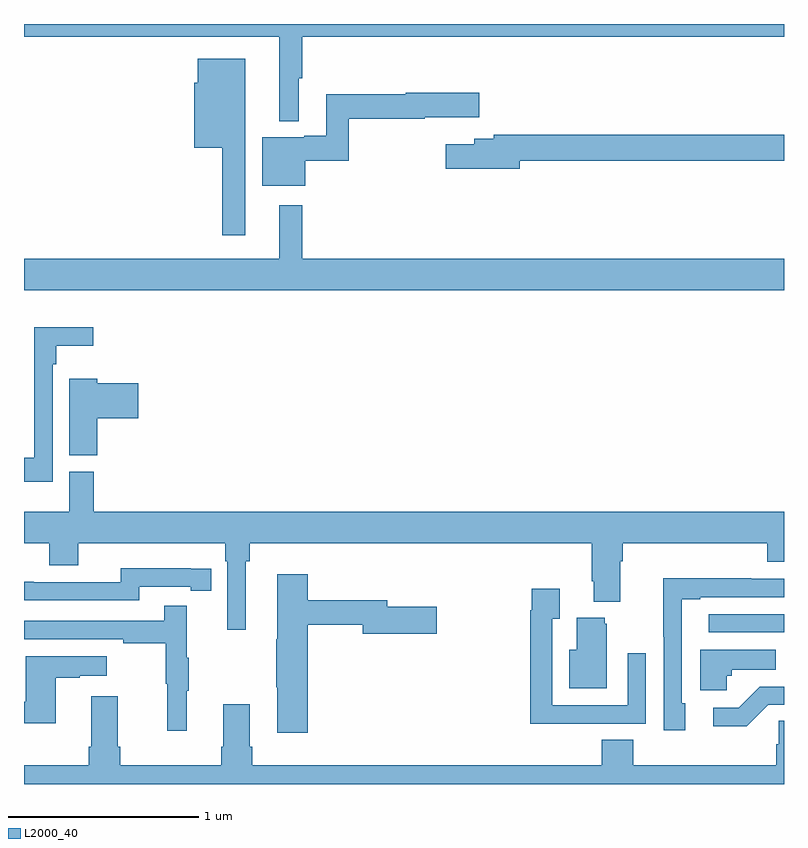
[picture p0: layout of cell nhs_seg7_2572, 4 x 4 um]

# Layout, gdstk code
import gdstk
lib = gdstk.Library(unit=1e-6, precision=1e-09)
def R(c, l, rs):  # rectangles x0, y0, x1, y1
    for r in rs: c.add(gdstk.rectangle(r[:2], r[2:], *l))
def P(c, l, *ps):  # polygons
    for p in ps: c.add(gdstk.Polygon(p, *l))
L2000_40 = (2000, 40)

nhs_seg7_2572 = lib.new_cell('nhs_seg7_2572')
R(nhs_seg7_2572, L2000_40, [(282.603,1014.798,283,1014.894)])
P(nhs_seg7_2572, L2000_40, [(280.445,1017.715),(280.465,1017.715),(280.465,1017.932),(283,1017.932),(283,1018),(279,1018),(279,1017.932),(280.343,1017.932),(280.343,1017.488),(280.445,1017.488)],
  [(280.165,1017.817),(279.914,1017.817),(279.914,1017.69),(279.896,1017.69),(279.896,1017.35),(280.044,1017.35),(280.044,1016.889),(280.165,1016.889)],
  [(280.48,1017.28),(280.709,1017.28),(280.709,1017.502),(281.11,1017.502),(281.11,1017.509),(281.395,1017.509),(281.395,1017.639),(281.01,1017.639),(281.01,1017.631),(280.592,1017.631),(280.592,1017.413),(280.476,1017.413),(280.476,1017.403),(280.253,1017.403),(280.253,1017.149),(280.48,1017.149)],
  [(281.608,1017.28),(283,1017.28),(283,1017.416),(281.473,1017.416),(281.473,1017.397),(281.369,1017.397),(281.369,1017.367),(281.22,1017.367),(281.22,1017.238),(281.608,1017.238)],
  [(283,1016.764),(280.465,1016.764),(280.465,1017.046),(280.343,1017.046),(280.343,1016.764),(279,1016.764),(279,1016.6),(283,1016.6)],
  [(279.15,1016.21),(279.17,1016.21),(279.17,1016.306),(279.364,1016.306),(279.364,1016.405),(279.054,1016.405),(279.054,1015.716),(279,1015.716),(279,1015.592),(279.15,1015.592)],
  [(279.386,1015.925),(279.601,1015.925),(279.601,1016.108),(279.386,1016.108),(279.386,1016.134),(279.239,1016.134),(279.239,1015.729),(279.386,1015.729)],
  [(280.168,1015.172),(280.187,1015.172),(280.187,1015.268),(281.987,1015.268),(281.987,1015.066),(281.999,1015.066),(281.999,1014.959),(282.139,1014.959),(282.139,1015.172),(282.152,1015.172),(282.152,1015.268),(282.911,1015.268),(282.911,1015.169),(283,1015.169),(283,1015.432),(279.368,1015.432),(279.368,1015.644),(279.239,1015.644),(279.239,1015.432),(279,1015.432),(279,1015.268),(279.134,1015.268),(279.134,1015.151),(279.286,1015.151),(279.286,1015.268),(280.058,1015.268),(280.058,1015.172),(280.071,1015.172),(280.071,1014.813),(280.168,1014.813)],
  [(279.606,1015.038),(279.878,1015.038),(279.878,1015.018),(279.986,1015.018),(279.986,1015.134),(279.878,1015.134),(279.878,1015.135),(279.51,1015.135),(279.51,1015.062),(279.05,1015.062),(279.05,1015.064),(279,1015.064),(279,1014.966),(279.606,1014.966)],
  [(280.493,1014.838),(280.784,1014.838),(280.784,1014.791),(281.173,1014.791),(281.173,1014.933),(280.912,1014.933),(280.912,1014.967),(280.493,1014.967),(280.493,1015.105),(280.334,1015.105),(280.334,1014.761),(280.327,1014.761),(280.327,1014.508),(280.334,1014.508),(280.334,1014.27),(280.493,1014.27)],
  [(282.481,1014.426),(282.462,1014.426),(282.462,1014.972),(282.559,1014.972),(282.559,1014.984),(283,1014.984),(283,1015.08),(282.827,1015.08),(282.827,1015.082),(282.364,1015.082),(282.364,1014.775),(282.366,1014.775),(282.366,1014.282),(282.481,1014.282)],
  [(281.957,1014.318),(282.273,1014.318),(282.273,1014.688),(282.177,1014.688),(282.177,1014.414),(281.781,1014.414),(281.781,1014.871),(281.821,1014.871),(281.821,1015.027),(281.673,1015.027),(281.673,1014.914),(281.665,1014.914),(281.665,1014.317),(281.957,1014.317)],
  [(279.857,1014.491),(279.868,1014.491),(279.868,1014.665),(279.857,1014.665),(279.857,1014.937),(279.739,1014.937),(279.739,1014.858),(279,1014.858),(279,1014.762),(279.523,1014.762),(279.523,1014.742),(279.747,1014.742),(279.747,1014.528),(279.754,1014.528),(279.754,1014.279),(279.857,1014.279)],
  [(282.067,1014.843),(282.056,1014.843),(282.056,1014.874),(281.909,1014.874),(281.909,1014.706),(281.87,1014.706),(281.87,1014.503),(282.067,1014.503)],
  [(282.699,1014.57),(282.726,1014.57),(282.726,1014.602),(282.956,1014.602),(282.956,1014.706),(282.56,1014.706),(282.56,1014.494),(282.699,1014.494)],
  [(279.166,1014.559),(279.293,1014.559),(279.293,1014.569),(279.436,1014.569),(279.436,1014.673),(279.008,1014.673),(279.008,1014.433),(279.001,1014.433),(279.001,1014.321),(279.166,1014.321)],
  [(282.918,1014.417),(283,1014.417),(283,1014.513),(282.872,1014.513),(282.761,1014.402),(282.627,1014.402),(282.627,1014.305),(282.805,1014.305)],
  [(283,1014.332),(282.972,1014.332),(282.972,1014.209),(282.959,1014.209),(282.959,1014.1),(282.206,1014.1),(282.206,1014.233),(282.041,1014.233),(282.041,1014.1),(280.202,1014.1),(280.202,1014.196),(280.189,1014.196),(280.189,1014.421),(280.049,1014.421),(280.049,1014.196),(280.037,1014.196),(280.037,1014.1),(279.506,1014.1),(279.506,1014.196),(279.493,1014.196),(279.493,1014.463),(279.353,1014.463),(279.353,1014.196),(279.341,1014.196),(279.341,1014.1),(279,1014.1),(279,1014),(283,1014)])

lib.write_gds('nhs_seg7_2572.gds')
